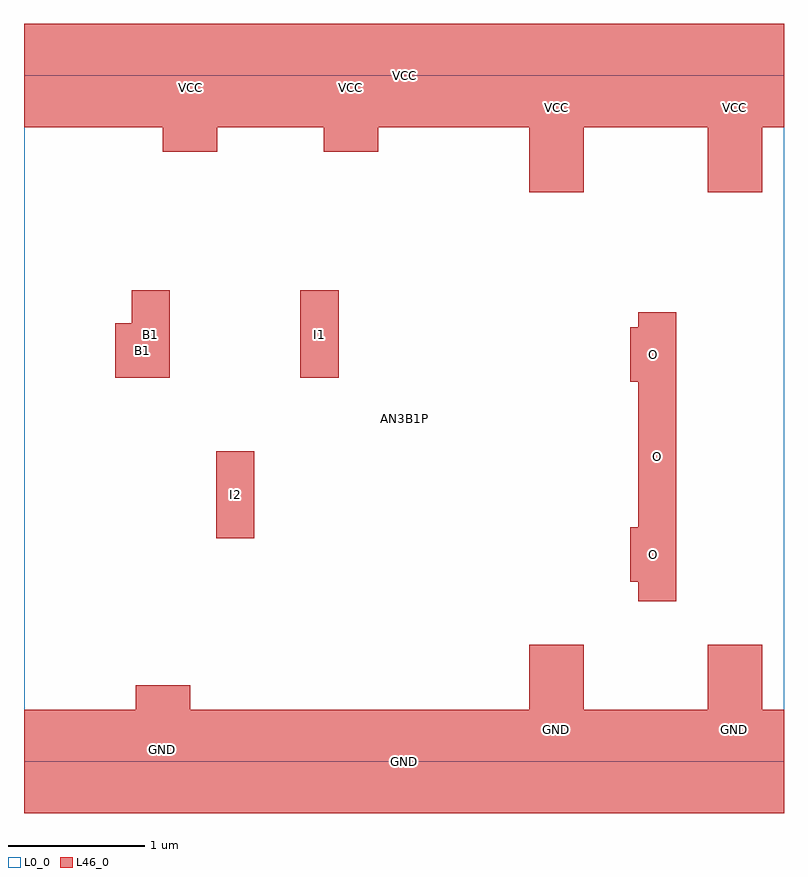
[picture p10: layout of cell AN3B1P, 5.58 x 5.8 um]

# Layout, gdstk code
import gdstk
lib = gdstk.Library(unit=1e-6, precision=1e-09)
def R(c, l, rs):  # rectangles x0, y0, x1, y1
    for r in rs: c.add(gdstk.rectangle(r[:2], r[2:], *l))
L0_0 = (0, 0)
L46_0 = (46, 0)

an3b1p = lib.new_cell('AN3B1P')
R(an3b1p, L0_0, [(0,0,5.58,5.04)])
R(an3b1p, L46_0, [(0,-0.38,5.58,0.38), (0.82,-0.38,1.22,0.56), (3.71,-0.38,4.11,0.86), (5.02,-0.38,5.42,0.86), (4.51,1.18,4.79,3.3), (4.45,1.32,4.79,1.72), (1.41,1.64,1.69,2.28), (4.45,2.79,4.79,3.19), (0.67,2.82,1.07,3.22), (0.79,2.82,1.07,3.46), (2.03,2.82,2.31,3.46), (3.71,4.18,4.11,5.42), (5.02,4.18,5.42,5.42), (1.02,4.48,1.42,5.42), (2.2,4.48,2.6,5.42), (0,4.66,5.58,5.42)])
an3b1p.add(gdstk.Label('AN3B1P', (2.79,2.52), layer=0, texttype=0))
an3b1p.add(gdstk.Label('O', (4.62,2.99), layer=101, texttype=0))
an3b1p.add(gdstk.Label('O', (4.65,2.24), layer=101, texttype=0))
an3b1p.add(gdstk.Label('O', (4.62,1.52), layer=101, texttype=0))
an3b1p.add(gdstk.Label('I2', (1.55,1.96), layer=101, texttype=0))
an3b1p.add(gdstk.Label('I1', (2.17,3.14), layer=101, texttype=0))
an3b1p.add(gdstk.Label('B1', (0.93,3.14), layer=101, texttype=0))
an3b1p.add(gdstk.Label('B1', (0.87,3.02), layer=101, texttype=0))
an3b1p.add(gdstk.Label('GND', (3.91,0.24), layer=101, texttype=0))
an3b1p.add(gdstk.Label('GND', (5.22,0.24), layer=101, texttype=0))
an3b1p.add(gdstk.Label('GND', (2.79,0), layer=101, texttype=0))
an3b1p.add(gdstk.Label('GND', (1.02,0.09), layer=101, texttype=0))
an3b1p.add(gdstk.Label('VCC', (2.4,4.95), layer=101, texttype=0))
an3b1p.add(gdstk.Label('VCC', (3.91,4.8), layer=101, texttype=0))
an3b1p.add(gdstk.Label('VCC', (5.22,4.8), layer=101, texttype=0))
an3b1p.add(gdstk.Label('VCC', (2.79,5.04), layer=101, texttype=0))
an3b1p.add(gdstk.Label('VCC', (1.22,4.95), layer=101, texttype=0))

lib.write_gds('AN3B1P.gds')
